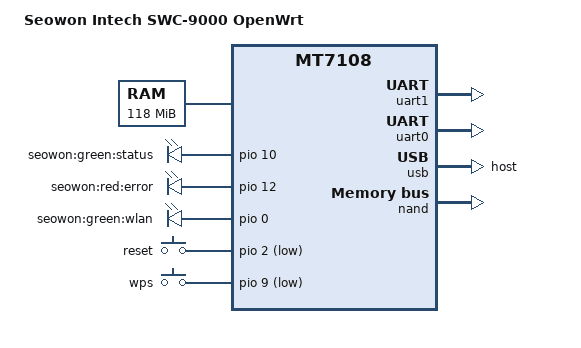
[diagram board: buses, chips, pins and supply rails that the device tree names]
/dts-v1/;
#include "mt7108.dtsi"
#include <dt-bindings/gpio/gpio.h>
#include <dt-bindings/input/input.h>

/ {
    model = "Seowon Intech SWC-9000 OpenWrt";
    compatible = "seowon,swc9000", "mediatek,mt7108";

    chosen {
        /* Linea de comando exacta del kernel original */
        bootargs = "console=ttyS1,115200n8 mem=54M@0x0 mem=64M@0x3800000 root=/dev/mtdblock1 rw";
        stdout-path = &uart1;
    };

    memory@0 {
        device_type = "memory";
        reg = <0x00000000 0x03600000>,
              <0x03800000 0x04000000>;
    };

    leds {
        compatible = "gpio-leds";
        status_green: green {
            label = "seowon:green:status";
            gpios = <&pio 10 GPIO_ACTIVE_HIGH>;
            default-state = "on";
        };
        error_red: red {
            label = "seowon:red:error";
            gpios = <&pio 12 GPIO_ACTIVE_HIGH>;
        };
        wlan: wlan {
            label = "seowon:green:wlan";
            gpios = <&pio 0 GPIO_ACTIVE_HIGH>;
        };
    };

    keys {
        compatible = "gpio-keys";
        reset {
            label = "reset";
            gpios = <&pio 2 GPIO_ACTIVE_LOW>;
            linux,code = <KEY_RESTART>;
        };
        wps {
            label = "wps";
            gpios = <&pio 9 GPIO_ACTIVE_LOW>;
            linux,code = <KEY_WPS_BUTTON>;
        };
    };
};

/* Habilitamos los perifericos en el archivo de dispositivo */
&uart1 { status = "okay"; interrupts = <7>; };
&uart0 { status = "okay"; interrupts = <8>; };

&usb {
    status = "okay";
    dr_mode = "host";
    interrupts = <13>;
};

&nand {
    status = "okay";
    /* Usamos la dirección de datos 0x60000000 confirmada por Redboot */
    reg = <0x80020000 0x1000>, /* Control MMIO */
          <0x60000000 0x4000000>; /* Ventana de memoria Flash */

    partitions {
        compatible = "fixed-partitions";
        #address-cells = <1>;
        #size-cells = <1>;

        partition@0 {
            label = "Redboot";
            reg = <0x0 0x40000>;
            read-only;
        };

        partition@40000 {
            label = "firmware"; /* Etiqueta OpenWrt estándar */
            reg = <0x40000 0x1600000>;
        };
        /* El resto de la memoria */
        partition@1640000 {
            label = "user_data";
            reg = <0x1640000 0x29c0000>;
        };
    };
};

/* NODO PARA EL SWITCH ETHERNET EXTERNO IP175C */
switch: ethernet-switch@0 {
    compatible = "icplus,ip175c";
    /* El driver original usa 0x89000000 y 0x80020000 */
    reg = <0x89000000 0x1000>; 
    /* ... (configuración de puertos mii/phy, si es necesaria) ... */
    status = "okay";
};
